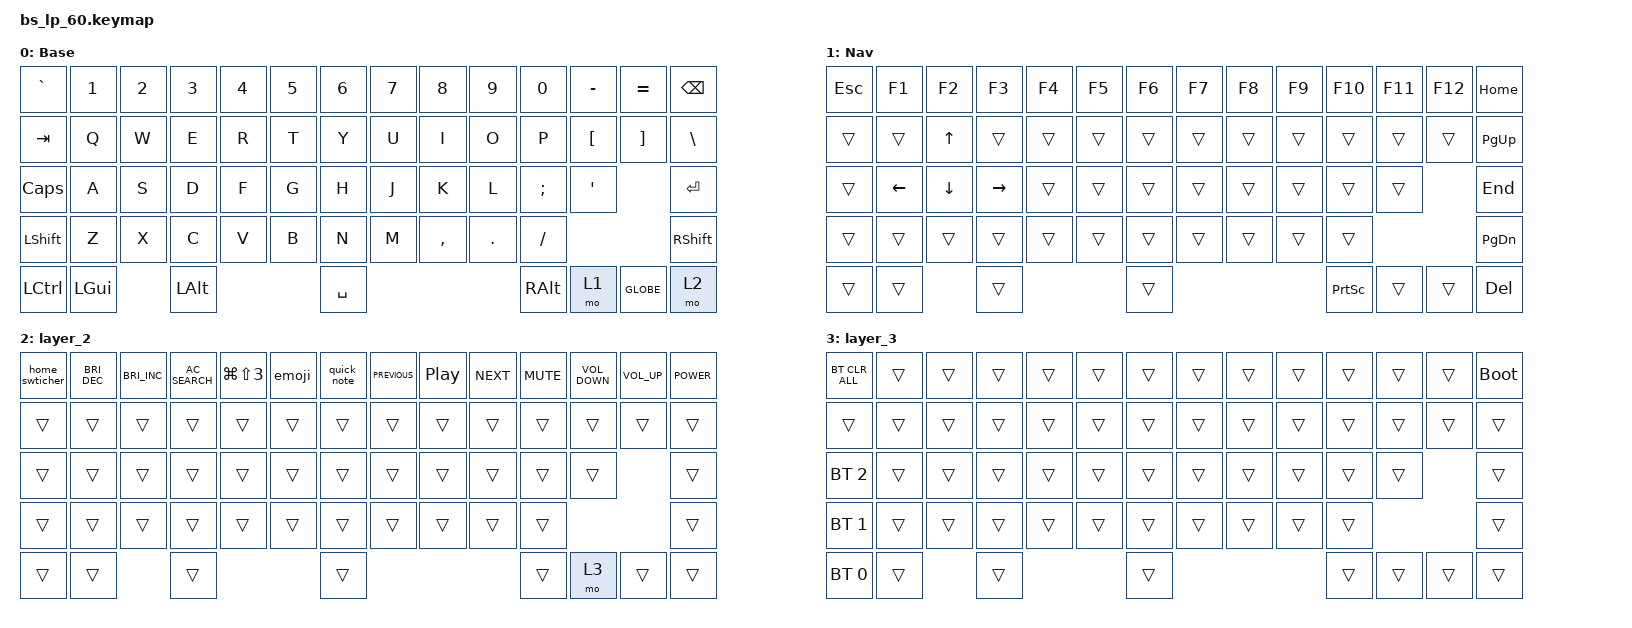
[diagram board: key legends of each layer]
/*
 * Copyright (c) 2021 Cole Smith
 *
 * SPDX-License-Identifier: MIT
 */

#include <dt-bindings/zmk/reset.h>
#include <behaviors.dtsi>
#include <dt-bindings/zmk/bt.h>
#include <dt-bindings/zmk/keys.h>

#define BAS_L 0
#define NAV_L 1

/ {
    macros {
        app_switcher: app_switcher {
            compatible = "zmk,behavior-macro";
            #binding-cells = <0>;
            bindings = <&macro_tap>, <&kp GLOBE &kp UP_ARROW>;

            label = "APP_SWITCHER";
        };

        emoji: emoji {
            compatible = "zmk,behavior-macro";
            #binding-cells = <0>;
            bindings = <&macro_tap>, <&kp RG(LC(SPACE))>;

            label = "EMOJI";
        };

        quick_note: quick_notes {
            compatible = "zmk,behavior-macro";
            #binding-cells = <0>;
            bindings =
                <&macro_press>,
                <&kp GLOBE>,
                <&macro_press>,
                <&kp Q>,
                <&macro_release>,
                <&kp GLOBE>;

            label = "QUICK_NOTES";
        };

        Lock: Lock {
            compatible = "zmk,behavior-macro";
            #binding-cells = <0>;
            bindings = <&macro_tap>, <&kp C_POWER &kp K_LOCK>;

            label = "LOCK";
        };
    };

    behaviors {
        home_swticher: home_swticher {
            compatible = "zmk,behavior-tap-dance";
            label = "HOME_SWTICHER";
            #binding-cells = <0>;
            bindings = <&kp C_AC_HOME>, <&app_switcher>;
        };
    };

    keymap {
        compatible = "zmk,keymap";

        default_layer {
            // ------------------------------------------------------------------------------------------
            // | ESC |  1  |  2  |  3  |  4  |  5  |  6  |  7  |  8  |  9  |  0  |  -  |  =  |   BKSP   |
            // | TAB  |  Q  |  W  |  E  |  R  |  T  |  Y  |  U  |  I  |  O  |  P  |  [  |  ]  |   "|"   |
            // | CAPS  |  A  |  S  |  D  |  F  |  G  |  H  |  J  |  K  |  L  |  ;  |  '  |     ENTER    |
            // |  SHIFT  |  Z  |  X  |  C  |  V  |  B  |  N  |  M  |  ,  |  .  |  /  |      SHIFT       |
            // |  CTL  |  WIN  |  ALT  |            SPACE              |  ALT  |  WIN  |  MO(1) |  CTL  |
            // ------------------------------------------------------------------------------------------

            label = "Base";
            bindings = <
&kp GRAVE  &kp N1    &kp N2  &kp N3    &kp N4  &kp N5  &kp N6     &kp N7  &kp N8     &kp N9   &kp N0    &kp MINUS  &kp EQUAL  &kp BSPC
&kp TAB    &kp Q     &kp W   &kp E     &kp R   &kp T   &kp Y      &kp U   &kp I      &kp O    &kp P     &kp LBKT   &kp RBKT   &kp BSLH
&kp CLCK   &kp A     &kp S   &kp D     &kp F   &kp G   &kp H      &kp J   &kp K      &kp L    &kp SEMI  &kp SQT               &kp RET
&kp LSHFT  &kp Z     &kp X   &kp C     &kp V   &kp B   &kp N      &kp M   &kp COMMA  &kp DOT  &kp FSLH                        &kp RSHFT
&kp LCTRL  &kp LGUI          &kp LALT                  &kp SPACE                              &kp RALT  &mo 1      &kp GLOBE  &mo 2
            >;
        };

        ble_layer {
            // ------------------------------------------------------------------------------------------------
            // | BT CLR | F1  | F2  | F3  | F4  | F5  | F6  | F7  | F8  | F9  | F10  | F11 | F12 |            |
            // |  BT 1   |   |  UP |   |       |       |       |       |   |     |    |     |     |           |
            // |   BT 2   | LT |  DN  | RT |       |       |       |       |   |     |   |     |              |
            // |    BT 3     |     |      |      |     |     |     |     |     |     |     |                  |
            // |   BT 4  |      |      |                                    | PRT SCR |       |       |  DEL  |
            // ------------------------------------------------------------------------------------------------

            label = "Nav";
            bindings = <
&kp ESC  &kp F1    &kp F2    &kp F3     &kp F4  &kp F5  &kp F6  &kp F7  &kp F8  &kp F9  &kp F10    &kp F11  &kp F12  &kp HOME
&trans   &trans    &kp UP    &trans     &trans  &trans  &trans  &trans  &trans  &trans  &trans     &trans   &trans   &kp PAGE_UP
&trans   &kp LEFT  &kp DOWN  &kp RIGHT  &trans  &trans  &trans  &trans  &trans  &trans  &trans     &trans            &kp END
&trans   &trans    &trans    &trans     &trans  &trans  &trans  &trans  &trans  &trans  &trans                       &kp PAGE_DOWN
&trans   &trans              &trans                     &trans                          &kp PSCRN  &trans   &trans   &kp DEL
            >;
        };

        layer_2 {
            bindings = <
&home_swticher  &kp C_BRIGHTNESS_DEC  &kp C_BRIGHTNESS_INC  &kp C_AC_SEARCH  &kp LG(LS(NUMBER_3))  &emoji  &quick_note  &kp C_PREVIOUS  &kp C_PLAY_PAUSE  &kp C_NEXT  &kp C_MUTE  &kp C_VOLUME_DOWN  &kp C_VOLUME_UP  &kp C_POWER
&trans          &trans                &trans                &trans           &trans                &trans  &trans       &trans          &trans            &trans      &trans      &trans             &trans           &trans
&trans          &trans                &trans                &trans           &trans                &trans  &trans       &trans          &trans            &trans      &trans      &trans                              &trans
&trans          &trans                &trans                &trans           &trans                &trans  &trans       &trans          &trans            &trans      &trans                                          &trans
&trans          &trans                                      &trans                                         &trans                                                     &trans      &mo 3              &trans           &trans
            >;
        };

        layer_3 {
            bindings = <
&bt BT_CLR_ALL  &trans  &trans  &trans  &trans  &trans  &trans  &trans  &trans  &trans  &trans  &trans  &trans  &bootloader
&trans          &trans  &trans  &trans  &trans  &trans  &trans  &trans  &trans  &trans  &trans  &trans  &trans  &trans
&bt BT_SEL 2    &trans  &trans  &trans  &trans  &trans  &trans  &trans  &trans  &trans  &trans  &trans          &trans
&bt BT_SEL 1    &trans  &trans  &trans  &trans  &trans  &trans  &trans  &trans  &trans  &trans                  &trans
&bt BT_SEL 0    &trans          &trans                  &trans                          &trans  &trans  &trans  &trans
            >;
        };
    };
};
